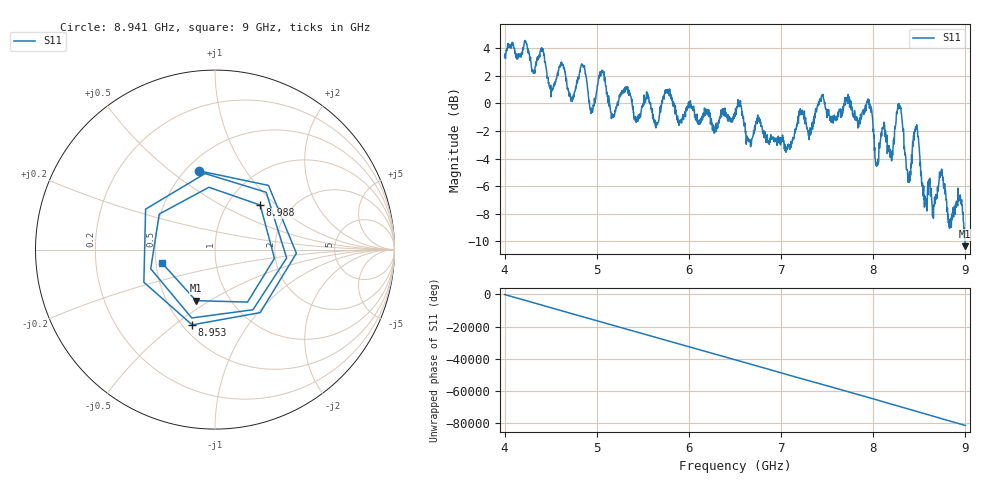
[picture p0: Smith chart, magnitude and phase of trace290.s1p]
! Created with skrf 1.8.0 (http://scikit-rf.org).
# Hz S RI R 50.0
!freq ReS11 ImS11
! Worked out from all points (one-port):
!   1601 points, 4 GHz to 9 GHz, reference 50 ohm
!   lowest |S11| = -10.4 dB at 8.997 GHz (marker M1), VSWR 1.87, Z = 34.8 - j21.8 ohm
!   |S11| at or under -10 dB: 8.996021 GHz to end of sweep
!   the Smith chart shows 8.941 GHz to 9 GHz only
!   S11 on the Smith chart (normalised r, x): 8.941 GHz: 0.58, +0.64; 8.953 GHz: 0.56, -0.58; 8.988 GHz: 1.41, +0.80; 9 GHz: 0.54, -0.09
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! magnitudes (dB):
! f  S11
! 4 GHz  3.4
! 4.406 GHz  4.0
! 4.509 GHz  0.9
! 4.625 GHz  2.8
! 4.728 GHz  0.4
! 4.853 GHz  2.8
! 4.947 GHz  -0.6
! 5.053 GHz  2.3
! 5.169 GHz  -0.8
! 5.25 GHz  0.5
! 5.875 GHz  -1.0
! 6.5 GHz  -0.7
! 7.125 GHz  -2.6
! 7.438 GHz  0.6
! 7.75 GHz  0.1
! 7.959 GHz  -0.4
! 8.038 GHz  -4.6
! 8.109 GHz  -1.7
! 8.203 GHz  -4.1
! 8.284 GHz  -0.2
! 8.375 GHz  -5.7
! 8.466 GHz  -1.7
! 8.562 GHz  -6.9
! 8.941 GHz  -7.0
! 8.953 GHz  -7.2
! 8.988 GHz  -9.0
! 8.997 GHz  -10.4
! 9 GHz  -10.3
